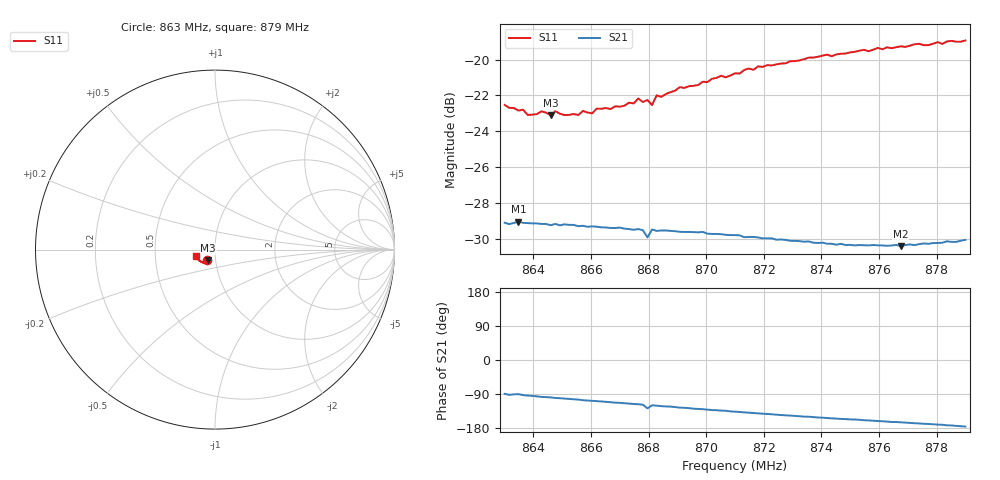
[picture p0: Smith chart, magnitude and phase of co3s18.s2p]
# HZ S RI R 50
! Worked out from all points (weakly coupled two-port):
!   101 points, 863 MHz to 879 MHz, reference 50 ohm
!   highest |S21| = -29.05 dB at 863.48 MHz (marker M1); lowest = -30.4 dB at 876.76 MHz (marker M2)
!   lowest |S11| = -23.1 dB at 864.6 MHz (marker M3), VSWR 1.15, Z = 46 - j5.43 ohm
!   |S11| at or under -10 dB: start of sweep to end of sweep
!   S12 and S22 are empty: the file has one direction only
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8.63e8  -0.0449 -0.0597  0.000495 -0.035  0 0  0 0
8.6348e8  -0.0397 -0.0602  -0.000104 -0.0353  0 0  0 0
8.638e8  -0.0374 -0.0593  -0.00233 -0.0348  0 0  0 0
8.646e8  -0.0381 -0.0587  -0.00517 -0.0341  0 0  0 0
8.6476e8  -0.0393 -0.06  -0.00618 -0.0342  0 0  0 0
8.6556e8  -0.0367 -0.0597  -0.00854 -0.0331  0 0  0 0
8.6572e8  -0.0375 -0.0613  -0.00958 -0.033  0 0  0 0
8.6604e8  -0.0365 -0.0606  -0.0104 -0.0326  0 0  0 0
8.662e8  -0.0382 -0.0622  -0.0108 -0.0324  0 0  0 0
8.6748e8  -0.0375 -0.0655  -0.0147 -0.0301  0 0  0 0
8.6764e8  -0.0402 -0.0667  -0.0151 -0.03  0 0  0 0
8.678e8  -0.0384 -0.0657  -0.0156 -0.0295  0 0  0 0
8.6796e8  -0.0382 -0.067  -0.0194 -0.0253  0 0  0 0
8.6812e8  -0.0403 -0.0628  -0.0165 -0.0292  0 0  0 0
8.6828e8  -0.0405 -0.0684  -0.0169 -0.0286  0 0  0 0
8.6844e8  -0.0405 -0.0674  -0.0176 -0.0283  0 0  0 0
8.6908e8  -0.0436 -0.0715  -0.0192 -0.0268  0 0  0 0
8.71e8  -0.054 -0.0739  -0.0234 -0.0223  0 0  0 0
8.7372e8  -0.0728 -0.0705  -0.0268 -0.0151  0 0  0 0
8.7644e8  -0.0919 -0.056  -0.029 -0.00855  0 0  0 0
8.7676e8  -0.0948 -0.0538  -0.029 -0.00806  0 0  0 0
8.79e8  -0.1072 -0.0362  -0.0313 -0.00238  0 0  0 0
